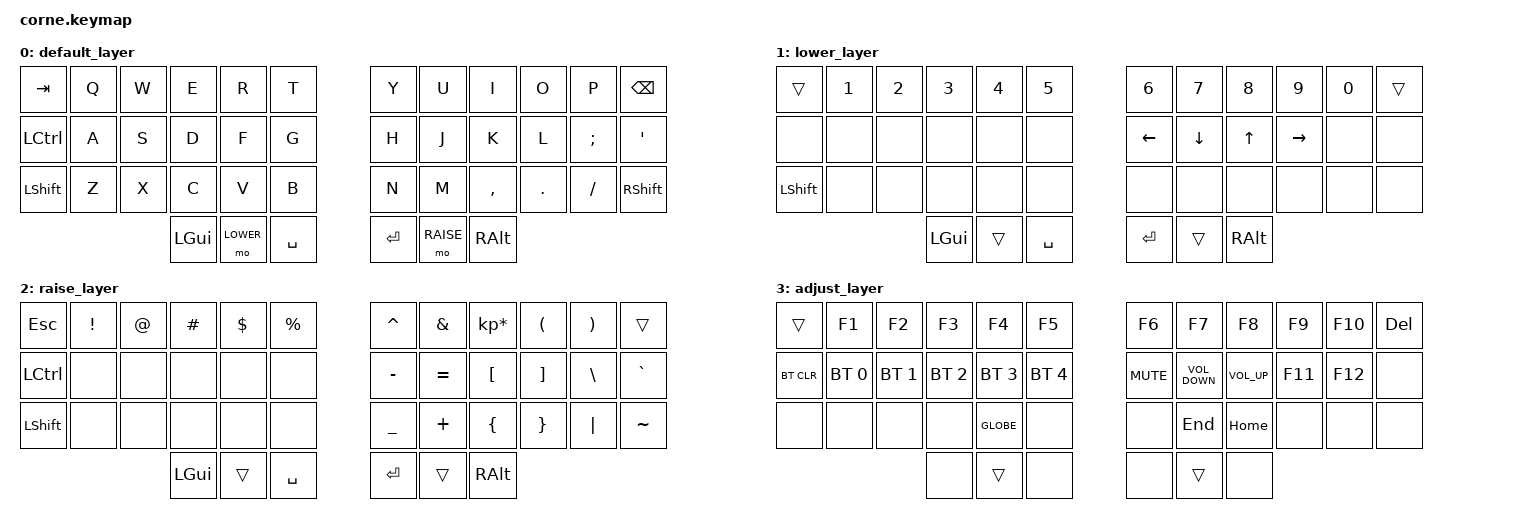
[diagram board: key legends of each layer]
/*
 * Copyright (c) 2020 The ZMK Contributors
 *
 * SPDX-License-Identifier: MIT
 */

#include <behaviors.dtsi>
#include <dt-bindings/zmk/keys.h>
#include <dt-bindings/zmk/bt.h>

#define DEFAULT 0
#define LOWER   1
#define RAISE   2
#define ADJUST  3

/ {
   conditional_layers {
     compatible = "zmk,conditional-layers";
     tri_layer {
       if-layers = <LOWER RAISE>;
       then-layer = <ADJUST>;
     };
   };

   keymap {
      compatible = "zmk,keymap";

      // -----------------------------------------------------------------------------------------
      // |  TAB |  Q  |  W  |  E  |  R  |  T  |   |  Y  |  U   |  I  |  O  |  P  | BKSP |
      // | CTRL |  A  |  S  |  D  |  F  |  G  |   |  H  |  J   |  K  |  L  |  ;  |  '   |
      // | SHFT |  Z  |  X  |  C  |  V  |  B  |   |  N  |  M   |  ,  |  .  |  /  | SHFT |
      //                    | GUI | LWR | SPC |   | ENT | RSE  | ALT |
      default_layer {
         bindings = <
            &kp TAB   &kp Q &kp W &kp E &kp R &kp T   &kp Y &kp U  &kp I     &kp O   &kp P    &kp BSPC
            &kp LCTRL &kp A &kp S &kp D &kp F &kp G   &kp H &kp J  &kp K     &kp L   &kp SEMI &kp SQT
            &kp LSHFT &kp Z &kp X &kp C &kp V &kp B   &kp N &kp M  &kp COMMA &kp DOT &kp FSLH &kp RSHFT
                           &kp LGUI &mo LOWER &kp SPACE   &kp RET &mo RAISE &kp RALT
         >;
      };

      // -----------------------------------------------------------------------------------------
      // |  TAB |  1  |  2  |  3  |  4  |  5  |   |  6  |  7  |  8  |  9  |  0  | BKSP |
      // |      |     |     |     |     |     |   | LFT | DWN |  UP | RGT |     |      |
      // | SHFT |     |     |     |     |     |   |     |     |     |     |     |      |
      //                    | GUI | LWR | SPC |   | ENT | RSE | ALT |
      lower_layer {
         bindings = <
            &trans &kp N1 &kp N2 &kp N3 &kp N4 &kp N5    &kp N6 &kp N7 &kp N8 &kp N9 &kp N0 &trans
            &none &none &none &none &none &none          &kp LEFT &kp DOWN &kp UP &kp RIGHT &none &none
            &kp LSHFT &none &none &none &none &none      &none &none &none &none &none &none
                           &kp LGUI &trans &kp SPACE     &kp RET &trans &kp RALT
         >;
      };

      // -----------------------------------------------------------------------------------------
      // |  ESC |  !  |  @  |  #  |  $  |  %  |   |  ^  |  &  |  *  |  (  |  )  | BKSP |
      // | CTRL |     |     |     |     |     |   |  -  |  =  |  [  |  ]  |  \  |  `   |
      // | SHFT |     |     |     |     |     |   |  _  |  +  |  {  |  }  | "|" |  ~   |
      //                    | GUI | LWR | SPC |   | ENT | RSE | ALT |
      raise_layer {
         bindings = <
            &kp ESC &kp EXCL &kp AT &kp HASH &kp DLLR  &kp PRCNT &kp CARET &kp AMPS &kp KP_MULTIPLY &kp LPAR &kp RPAR &trans
            &kp LCTRL &none &none &none &none &none   &kp MINUS &kp EQUAL &kp LBKT &kp RBKT &kp BSLH &kp GRAVE
            &kp LSHFT &none &none &none &none &none   &kp UNDER &kp PLUS  &kp LBRC &kp RBRC &kp PIPE &kp TILDE
                          &kp LGUI &trans &kp SPACE   &kp RET &trans &kp RALT
         >;
      };

      // -----------------------------------------------------------------------------------------
      // | TAB  |  F1 |  F2 | F3  |  F4 |  F5 |   | F6  |  F7 |  F8 | F9  | F10 | DEL  |
      // | BTCL | BT 0| BT 1| BT 2| BT 3| BT 4|   | MUT | Vo- | Vo+ | F11 | F12 |      |
      // |      |     |     |     | GLB |     |   |     | END | HOME|     | DEL |      |
      //                    |     | LWR |     |   |     | RSE |     |
      adjust_layer {
         bindings = <
            &trans &kp F1 &kp F2 &kp F3 &kp F4 &kp F5     &kp F6 &kp F7 &kp F8 &kp F9 &kp F10 &kp DEL
            &bt BT_CLR &bt BT_SEL 0 &bt BT_SEL 1 &bt BT_SEL 2 &bt BT_SEL 3 &bt BT_SEL 4     &kp C_MUTE &kp C_VOLUME_DOWN &kp C_VOLUME_UP &kp F11 &kp F12 &none
            &none &none &none &none &kp GLOBE &none     &none &kp END &kp HOME &none &none &none
                         &none &trans &none     &none &trans &none
         >;
      };
   };
};
